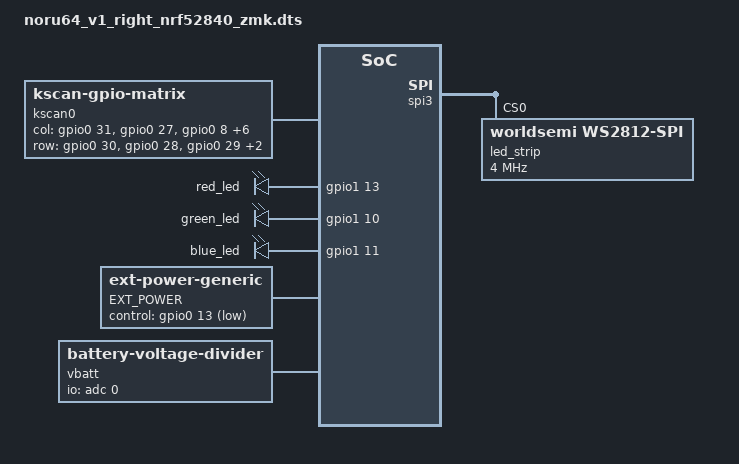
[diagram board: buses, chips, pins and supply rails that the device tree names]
/*
 * Copyright (c) 2020 Eric Lau
 *
 * SPDX-License-Identifier: MIT
 */

#include "noru64_v1.dts"
#include "noru64_v1_right_pinctrl.dtsi"

/ {
	chosen {
		zmk,underglow = &led_strip;
		zmk,battery = &vbatt;
	};

	kscan0: kscan_0 {
		compatible = "zmk,kscan-gpio-matrix";
		wakeup-source;
		diode-direction = "col2row";

		col-gpios
			= <&gpio0 31 GPIO_ACTIVE_HIGH>
			, <&gpio0 27 GPIO_ACTIVE_HIGH>
			, <&gpio0 8  GPIO_ACTIVE_HIGH>
			, <&gpio0 21 GPIO_ACTIVE_HIGH>
			, <&gpio0 25 GPIO_ACTIVE_HIGH>
			, <&gpio1 0  GPIO_ACTIVE_HIGH>
			, <&gpio0 24 GPIO_ACTIVE_HIGH>
			, <&gpio0 23 GPIO_ACTIVE_HIGH>
			, <&gpio0 20 GPIO_ACTIVE_HIGH>
			;

		row-gpios
			= <&gpio0 30 (GPIO_ACTIVE_HIGH | GPIO_PULL_DOWN)>
			, <&gpio0 28 (GPIO_ACTIVE_HIGH | GPIO_PULL_DOWN)>
			, <&gpio0 29 (GPIO_ACTIVE_HIGH | GPIO_PULL_DOWN)>
			, <&gpio1 15 (GPIO_ACTIVE_HIGH | GPIO_PULL_DOWN)>
			, <&gpio0 15 (GPIO_ACTIVE_HIGH | GPIO_PULL_DOWN)>
			;
	};

	leds {
		compatible = "gpio-leds";
		red_led: led_0 {
			gpios = <&gpio1 13 GPIO_ACTIVE_HIGH>;
		};
		green_led: led_1 {
			gpios = <&gpio1 10 GPIO_ACTIVE_HIGH>;
		};
		blue_led: led_2 {
			gpios = <&gpio1 11 GPIO_ACTIVE_HIGH>;
		};
	};

	// Node name must match original "EXT_POWER" label to preserve user settings.
	EXT_POWER {
		compatible = "zmk,ext-power-generic";
		control-gpios = <&gpio0 13 GPIO_ACTIVE_LOW>; /* 0.13 */
	};

	vbatt: vbatt {
		compatible = "zmk,battery-voltage-divider";
		io-channels = <&adc 0>;
		output-ohms = <10000000>;
		full-ohms = <(10000000 + 4000000)>;
	};
};

&default_transform {
	col-offset = <7>;
};

&spi3 {
	compatible = "nordic,nrf-spim";
	status = "okay";

	pinctrl-0 = <&spi3_default>;
	pinctrl-1 = <&spi3_sleep>;
	pinctrl-names = "default", "sleep";

	led_strip: ws2812@0 {
		compatible = "worldsemi,ws2812-spi";

		/* SPI */
		reg = <0>; /* ignored, but necessary for SPI bindings */
		spi-max-frequency = <4000000>;

		/* WS2812 */
		chain-length = <8>; /* number of LEDs */
		spi-one-frame = <0x70>;
		spi-zero-frame = <0x40>;

		color-mapping = <LED_COLOR_ID_GREEN
						 LED_COLOR_ID_RED
						 LED_COLOR_ID_BLUE>;
	};
};
